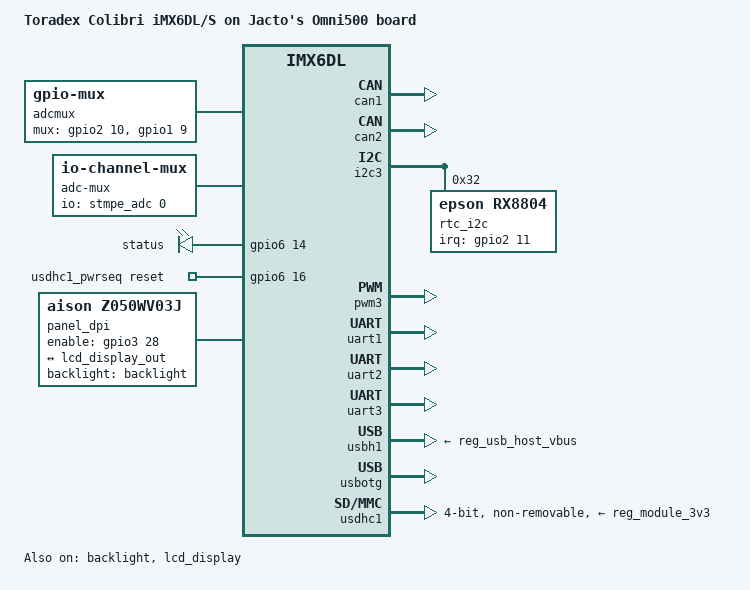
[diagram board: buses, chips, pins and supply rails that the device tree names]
// SPDX-License-Identifier: GPL-2.0-or-later OR MIT
/*
 * Copyright 2014-2022 Toradex
 * Copyright 2012 Freescale Semiconductor, Inc.
 * Copyright 2011 Linaro Ltd.
 */

/dts-v1/;

#include <dt-bindings/input/input.h>
#include <dt-bindings/interrupt-controller/irq.h>
#include "imx6dl.dtsi"
#include "imx6qdl-colibri.dtsi"

/ {
	model = "Toradex Colibri iMX6DL/S on Jacto's Omni500 board";
	compatible = "jacto,imx6dl-omni500", "toradex,colibri_imx6dl",
		     "fsl,imx6dl";

	aliases {
		mmc0 = &usdhc3;
		mmc1 = &usdhc1;
		rtc0 = &rtc_i2c;
	};

	chosen {
		stdout-path = &uart1;
	};

	adcmux: mux-controller {
		compatible = "gpio-mux";
		#mux-control-cells = <0>;
		pinctrl-names = "default";
		pinctrl-0 = <&pinctrl_adcmux>;
		mux-gpios = <&gpio2 10 GPIO_ACTIVE_HIGH>,	/* MUX_CH0 */
			    <&gpio1 9 GPIO_ACTIVE_HIGH>;	/* MUX_CH1 */
	};

	adc-mux {
		compatible = "io-channel-mux";
		io-channels = <&stmpe_adc 0>;
		io-channel-names = "parent";
		mux-controls = <&adcmux>;
		channels = "chan0", "chan1", "chan2", "chan3";
	};

	leds {
		compatible = "gpio-leds";
		pinctrl-names = "default";
		pinctrl-0 = <&pinctrl_gpio_led>;

		led1 {
			label = "status";
			gpios = <&gpio6 14 GPIO_ACTIVE_HIGH>;
		};
	};

	usdhc1_pwrseq: usdhc1_pwrseq {
		compatible = "mmc-pwrseq-simple";
		pinctrl-names = "default";
		pinctrl-0 = <&pinctrl_wifi_reset>;
		reset-gpios = <&gpio6 16 GPIO_ACTIVE_HIGH>;	/* WL_EN */
	};

	panel_dpi: panel-dpi {
		compatible = "aison,z050wv03j";
		pinctrl-names = "default";
		pinctrl-0 = <&pinctrl_lcd_enable>;
		enable-gpios = <&gpio3 28 GPIO_ACTIVE_HIGH>;
		backlight = <&backlight>;
		status = "okay";

		port {
			lcd_panel_in: endpoint {
				remote-endpoint = <&lcd_display_out>;
			};
		};
	};
};

&backlight {
	default-brightness-level = <1>;
	/* Maximum PWM dimming frequency for the TPS61165 is 100 kHz */
	pwms = <&pwm3 0 100000 PWM_POLARITY_INVERTED>;
	status = "okay";
};

&lcd_display {
	status = "okay";
};

&can1 {
	status = "okay";
};

&can2 {
	status = "okay";
};

&fec {
	status = "disabled";
};

&i2c3 {
	status = "okay";

        rtc_i2c: rtc@32 {
		compatible = "epson,rx8804";
		reg = <0x32>;
		pinctrl-names = "default";
		pinctrl-0 = <&pinctrl_rtc>;
		interrupt-parent = <&gpio2>;
		interrupts = <11 IRQ_TYPE_LEVEL_HIGH>;
	};
};

&pwm3 {
	status = "okay";
};

&reg_usb_host_vbus {
	status = "okay";
};

&uart1 {
	fsl,dte-mode;
	pinctrl-names = "default";
	pinctrl-0 = <&pinctrl_uart1_dte>;
	/delete-property/uart-has-rtscts;
	status = "okay";
};

&uart2 {
	status = "okay";
};

&uart3 {
	status = "okay";
};

&usbh1 {
	vbus-supply = <&reg_usb_host_vbus>;
	status = "okay";
};

&usbotg {
	status = "okay";
};

&usdhc1 {
	bus-width = <4>;
	no-1-8-v;
	non-removable;
	pinctrl-names = "default", "state_100mhz", "state_200mhz", "sleep";
	pinctrl-0 = <&pinctrl_usdhc1>;
	pinctrl-1 = <&pinctrl_usdhc1_100mhz>;
	pinctrl-2 = <&pinctrl_usdhc1_200mhz>;
	pinctrl-3 = <&pinctrl_usdhc1_sleep>;
	mmc-pwrseq = <&usdhc1_pwrseq>;
	vmmc-supply = <&reg_module_3v3>;
	vqmmc-supply = <&vgen3_reg>;
	status = "okay";
};

&vpu {
	status = "disabled";
};

&iomuxc {
	pinctrl-names = "default";
	pinctrl-0 = <
		&pinctrl_usbh_oc_1 &pinctrl_usbc_id_1
	>;

	pinctrl_adcmux: adcmuxgrp {
		fsl,pins = <
			MX6QDL_PAD_SD4_DAT2__GPIO2_IO10		0x1b0b0
			MX6QDL_PAD_GPIO_9__GPIO1_IO09		0x1b0b0
		>;
	};

	pinctrl_gpio_led: gpioledgrp {
		fsl,pins = <
			MX6QDL_PAD_NANDF_CS1__GPIO6_IO14	0x1b0b0
		>;
	};
	
	pinctrl_lcd_enable: lcdenablegrp {
		fsl,pins = <
			MX6QDL_PAD_EIM_D28__GPIO3_IO28		0x1b0b0
		>;
	};

	pinctrl_rtc: rtcgrp {
		fsl,pins = <
		        MX6QDL_PAD_SD4_DAT3__GPIO2_IO11		0x1b0b0
	        >;
	};

	pinctrl_wifi_reset: wifiresetgrp {
		fsl,pins = <
		        MX6QDL_PAD_NANDF_CS3__GPIO6_IO16	0x1b0b0
	        >;
	};
};
